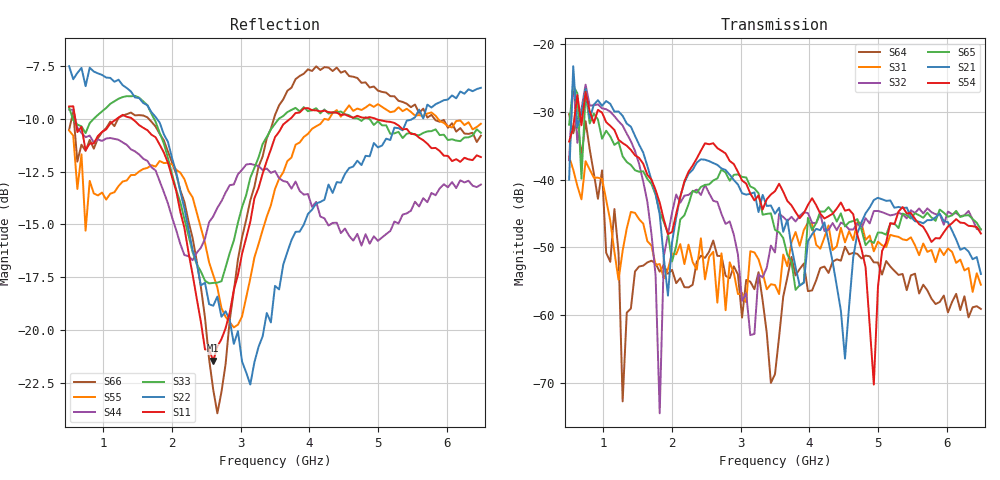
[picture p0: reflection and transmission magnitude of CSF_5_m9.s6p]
!Keysight Technologies,M9804A,MY58100912,A.14.10.03
!Date: Thursday, April 27, 2023 10:28:33
!Correction: S11(C  6-Port  )
!S12(C  6-Port  )
!S13(C  6-Port  )
!S14(C  6-Port  )
!S15(C  6-Port  )
!S16(C  6-Port  )
!S21(C  6-Port  )
!S22(C  6-Port  )
!S23(C  6-Port  )
!S24(C  6-Port  )
!S25(C  6-Port  )
!S26(C  6-Port  )
!S31(C  6-Port  )
!S32(C  6-Port  )
!S33(C  6-Port  )
!S34(C  6-Port  )
!S35(C  6-Port  )
!S36(C  6-Port  )
!S41(C  6-Port  )
!S42(C  6-Port  )
!S43(C  6-Port  )
!S44(C  6-Port  )
!S45(C  6-Port  )
!S46(C  6-Port  )
!S51(C  6-Port  )
!S52(C  6-Port  )
!S53(C  6-Port  )
!S54(C  6-Port  )
!S55(C  6-Port  )
!S56(C  6-Port  )
!S61(C  6-Port  )
!S62(C  6-Port  )
!S63(C  6-Port  )
!S64(C  6-Port  )
!S65(C  6-Port  )
!S66(C  6-Port  )
!S6P File: Measurement: :
# Hz S  RI  R 50
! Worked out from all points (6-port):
!   101 points, 500 MHz to 6.5 GHz, reference 50 ohm
!   strongest paths, dB at 500 MHz, 2 GHz, 3.5 GHz, 5 GHz, 6.5 GHz:
!     S54: -34.4, -47.7, -41.7, -55.9, -48.0
!     S21: -40.0, -49.2, -45.0, -42.7, -53.9
!     S65: -31.9, -52.1, -47.4, -47.8, -47.4
!     S32: -37.2, -44.9, -50.8, -44.6, -47.4
!     S31: -36.6, -50.9, -55.6, -49.2, -55.5
!     S64: -30.4, -53.3, -68.7, -52.2, -59.1
!   lowest |S11| = -21.5 dB at 2.6 GHz (marker M1), VSWR 1.18, Z = 42.5 + j2.21 ohm
!   |S11| at or under -10 dB: 589.6 MHz to 1.191 GHz (601 MHz wide, 67.5 % of centre); 1.423 GHz to 3.717 GHz (2.294 GHz wide, 89.3 % of centre); 4.973 GHz to end of sweep
